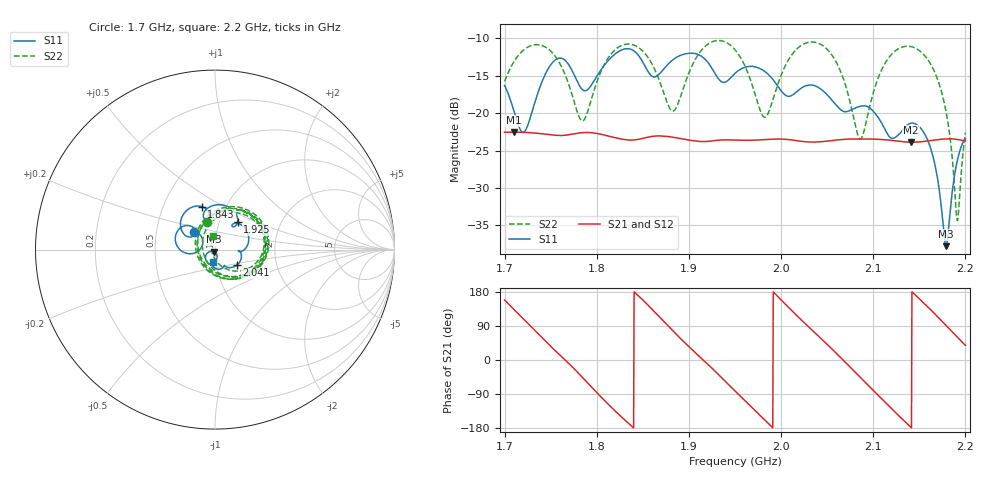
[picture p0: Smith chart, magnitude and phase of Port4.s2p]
# Hz S RI R 50
! CMT, CMT808U, 21440046, 21.4.3/4
! Date: 4/9/2026 1:43:20 AM
! Data: Format (Calibration Info)
! Freq	S11:Re/Im(F2)	S41:Re/Im(F2)	S14:Re/Im(F2)	S44:Re/Im(F2)
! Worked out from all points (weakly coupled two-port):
!   1001 points, 1.7 GHz to 2.2 GHz, reference 50 ohm
!   highest |S21| = -22.52 dB at 1.71 GHz (marker M1); lowest = -23.9 dB at 2.141 GHz (marker M2)
!   lowest |S11| = -37.8 dB at 2.179 GHz (marker M3), VSWR 1.03, Z = 49.5 - j1.17 ohm
!   |S11| at or under -10 dB: start of sweep to end of sweep
!   |S22| runs from -34.4 to -10.3 dB; largest |S21 - S12| = 0.001
!   S11 on the Smith chart (normalised r, x): 1.7 GHz: 0.77, +0.15; 1.843 GHz: 0.77, +0.40; 1.925 GHz: 1.22, +0.39; 2.041 GHz: 1.25, -0.22; 2.2 GHz: 0.97, -0.13
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1.7e9  -0.1188 0.0969  -0.0693 0.0277  -0.0694 0.0268  -0.0467 0.1564
1.71e9  -0.0753 0.0716  -0.0518 0.0539  -0.0523 0.0531  0.0425 0.2165
1.722e9  -0.0744 0.0146  -0.0183 0.0722  -0.0191 0.0717  0.1715 0.2069
1.7435e9  -0.1784 -0.0128  0.0451 0.0569  0.0442 0.0572  0.2784 0.0103
1.7835e9  -0.1104 0.095  0.0539 -0.0509  0.0544 -0.0501  -0.0772 -0.0447
1.8135e9  -0.1912 0.1255  -0.0343 -0.0612  -0.0334 -0.0615  0.0818 0.2254
1.8435e9  -0.0736 0.2398  -0.0662 0.00799  -0.066 0.00716  0.279 -0.0166
1.867e9  -0.0575 0.1714  -0.031 0.0634  -0.0317 0.0628  0.0536 -0.1625
1.884e9  -0.0464 0.2263  0.0198 0.0661  0.0189 0.0661  -0.1028 -0.0169
1.925e9  0.1257 0.1547  0.0607 -0.024  0.0609 -0.0231  0.24 0.1801
1.95e9  0.1119 0.147  0.00961 -0.0654  0.0105 -0.0651  0.2463 -0.0999
1.9825e9  0.1858 0.0391  -0.062 -0.0244  -0.0615 -0.0252  -0.0898 -0.0271
2.009e9  0.1296 -0.00668  -0.0484 0.0458  -0.0489 0.045  0.0614 0.2244
2.0335e9  0.1395 -0.066  0.0118 0.063  0.0109 0.0631  0.2856 0.0904
2.0405e9  0.1199 -0.0879  0.0287 0.0575  0.0279 0.0579  0.2934 0.0127
2.086e9  0.0382 -0.1046  0.0469 -0.0484  0.0475 -0.0476  -0.0651 -0.0167
2.117e9  -0.0126 -0.0692  -0.0346 -0.0564  -0.0337 -0.0568  0.1158 0.2054
2.141e9  -0.027 -0.0815  -0.064 -0.00249  -0.0639 -0.00336  0.2728 0.0581
2.163e9  -0.049 -0.028  -0.0432 0.0496  -0.0439 0.049  0.179 -0.1082
2.179e9  -0.00529 -0.0118  -0.00159 0.0674  -0.00255 0.0673  0.0395 -0.0948
2.191e9  0.011 -0.0463  0.0326 0.0583  0.0317 0.0587  -0.0183 -0.00585
2.2e9  -0.0119 -0.0665  0.051 0.0408  0.0504 0.0415  -0.0102 0.0736
